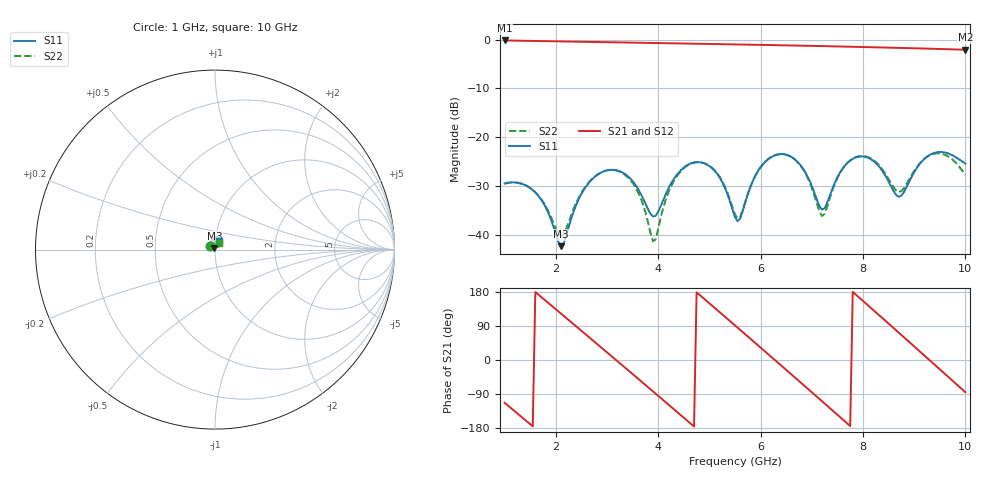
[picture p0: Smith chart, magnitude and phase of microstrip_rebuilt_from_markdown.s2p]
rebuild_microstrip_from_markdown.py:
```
#!/home/solarstatiion/.venvs/pyaedt-mcp/bin/python
"""Build the HFSS model from its Markdown spec and compare S-parameters."""

from __future__ import annotations

import csv
import json
import math
import os
import re
import statistics
import traceback
from datetime import datetime
from pathlib import Path

from dotenv import dotenv_values

ROOT = Path("/home/solarstatiion/aedt-mcp")
SPEC_PATH = ROOT / "specs" / "microstrip_50ohm_fr4.md"
REFERENCE_DIR = ROOT / "projects" / "microstrip_50ohm_fr4_20260802_162355"
REFERENCE_TOUCHSTONE = REFERENCE_DIR / "microstrip_50ohm_fr4.s2p"

for key, value in dotenv_values(ROOT / ".env").items():
    if value is not None:
        os.environ[key] = value

from ansys.aedt.core import Hfss


def load_spec(path: Path) -> dict:
    """Extract and validate the JSON source-of-truth block."""
    text = path.read_text()
    match = re.search(
        r"<!-- AEDT_SPEC_BEGIN -->\s*```json\s*(.*?)\s*```\s*"
        r"<!-- AEDT_SPEC_END -->",
        text,
        re.DOTALL,
    )
    if not match:
        raise ValueError(f"No machine-readable AEDT spec found in {path}")
    spec = json.loads(match.group(1))
    if spec.get("schema_version") != 1:
        raise ValueError(f"Unsupported schema version: {spec.get('schema_version')}")
    return spec


def pair_to_complex(a: float, b: float, data_format: str) -> complex:
    if data_format == "RI":
        return complex(a, b)
    magnitude = 10.0 ** (a / 20.0) if data_format == "DB" else a
    angle = math.radians(b)
    return magnitude * complex(math.cos(angle), math.sin(angle))


def parse_touchstone(path: Path) -> list[dict[str, float | complex]]:
    """Parse a Touchstone v1 two-port file."""
    unit_scale = 1e9
    data_format = "MA"
    numeric_tokens: list[float] = []
    for raw_line in path.read_text(errors="replace").splitlines():
        line = raw_line.split("!", 1)[0].strip()
        if not line:
            continue
        if line.startswith("#"):
            fields = line[1:].upper().split()
            scales = {"HZ": 1.0, "KHZ": 1e3, "MHZ": 1e6, "GHZ": 1e9}
            for field in fields:
                if field in scales:
                    unit_scale = scales[field]
                elif field in {"RI", "MA", "DB"}:
                    data_format = field
            continue
        if not line.startswith("["):
            numeric_tokens.extend(float(token) for token in line.split())

    rows: list[dict[str, float | complex]] = []
    for offset in range(0, len(numeric_tokens), 9):
        values = numeric_tokens[offset : offset + 9]
        if len(values) != 9:
            break
        rows.append(
            {
                "frequency_hz": values[0] * unit_scale,
                "s11": pair_to_complex(values[1], values[2], data_format),
                "s21": pair_to_complex(values[3], values[4], data_format),
                "s12": pair_to_complex(values[5], values[6], data_format),
                "s22": pair_to_complex(values[7], values[8], data_format),
            }
        )
    if not rows:
        raise ValueError(f"No two-port data found in {path}")
    return rows


def db(value: complex) -> float:
    return 20.0 * math.log10(max(abs(value), 1e-15))


def phase(value: complex) -> float:
    return math.degrees(math.atan2(value.imag, value.real))


def wrapped_phase_delta(a: float, b: float) -> float:
    return (a - b + 180.0) % 360.0 - 180.0


def compare_touchstones(reference_path: Path, rebuilt_path: Path) -> tuple[dict, list[dict]]:
    reference = parse_touchstone(reference_path)
    rebuilt = parse_touchstone(rebuilt_path)
    if len(reference) != len(rebuilt):
        raise ValueError(
            f"Point-count mismatch: reference={len(reference)}, rebuilt={len(rebuilt)}"
        )

    detail_rows: list[dict] = []
    metric_values: dict[str, dict[str, list[float]]] = {
        name: {"db": [], "complex": [], "phase": []}
        for name in ("s11", "s21", "s12", "s22")
    }
    for old, new in zip(reference, rebuilt):
        frequency_delta = abs(float(old["frequency_hz"]) - float(new["frequency_hz"]))
        if frequency_delta > 1.0:
            raise ValueError(f"Frequency-grid mismatch of {frequency_delta} Hz")
        row = {"frequency_hz": float(old["frequency_hz"])}
        for name in metric_values:
            old_value = complex(old[name])
            new_value = complex(new[name])
            db_delta = db(new_value) - db(old_value)
            complex_delta = abs(new_value - old_value)
            phase_delta = wrapped_phase_delta(phase(new_value), phase(old_value))
            metric_values[name]["db"].append(db_delta)
            metric_values[name]["complex"].append(complex_delta)
            metric_values[name]["phase"].append(phase_delta)
            row[f"reference_{name}_db"] = db(old_value)
            row[f"rebuilt_{name}_db"] = db(new_value)
            row[f"delta_{name}_db"] = db_delta
            row[f"delta_{name}_complex"] = complex_delta
            row[f"delta_{name}_phase_deg"] = phase_delta
        detail_rows.append(row)

    metrics = {}
    for name, values in metric_values.items():
        metrics[name] = {
            "max_abs_db_delta": max(abs(value) for value in values["db"]),
            "rms_db_delta": math.sqrt(statistics.fmean(value * value for value in values["db"])),
            "max_complex_delta": max(values["complex"]),
            "rms_complex_delta": math.sqrt(
                statistics.fmean(value * value for value in values["complex"])
            ),
            "max_abs_phase_delta_deg": max(abs(value) for value in values["phase"]),
        }

    samples = {}
    for target_ghz in (1.0, 2.4, 5.0, 10.0):
        row = min(
            detail_rows,
            key=lambda item: abs(item["frequency_hz"] - target_ghz * 1e9),
        )
        samples[f"{target_ghz:g}GHz"] = {
            key: value for key, value in row.items() if key != "frequency_hz"
        }

    consistent = (
        all(metrics[name]["max_complex_delta"] <= 0.03 for name in metrics)
        and metrics["s21"]["max_abs_db_delta"] <= 0.2
        and metrics["s12"]["max_abs_db_delta"] <= 0.2
    )
    summary = {
        "reference_touchstone": str(reference_path),
        "rebuilt_touchstone": str(rebuilt_path),
        "point_count": len(detail_rows),
        "frequency_range_ghz": [
            detail_rows[0]["frequency_hz"] / 1e9,
            detail_rows[-1]["frequency_hz"] / 1e9,
        ],
        "metrics": metrics,
        "sample_comparisons": samples,
        "consistency_criteria": {
            "all_max_complex_delta_lte": 0.03,
            "s21_s12_max_abs_db_delta_lte": 0.2,
        },
        "numerically_consistent": consistent,
    }
    return summary, detail_rows


def write_comparison_report(path: Path, summary: dict) -> None:
    verdict = "PASS" if summary["numerically_consistent"] else "REVIEW"
    lines = [
        "# HFSS Markdown Rebuild Comparison",
        "",
        f"**Verdict: {verdict}**",
        "",
        f"- Compared points: {summary['point_count']}",
        f"- Frequency range: {summary['frequency_range_ghz'][0]:g}–"
        f"{summary['frequency_range_ghz'][1]:g} GHz",
        "- Comparison uses all four complex S-parameters.",
        "",
        "## Full-sweep difference metrics",
        "",
        "| Parameter | Max |ΔdB| | RMS ΔdB | Max complex Δ | RMS complex Δ | "
        "Max |Δphase| |",
        "|---|---:|---:|---:|---:|---:|",
    ]
    for name, values in summary["metrics"].items():
        lines.append(
            f"| {name.upper()} | {values['max_abs_db_delta']:.6g} | "
            f"{values['rms_db_delta']:.6g} | {values['max_complex_delta']:.6g} | "
            f"{values['rms_complex_delta']:.6g} | "
            f"{values['max_abs_phase_delta_deg']:.6g}° |"
        )

    lines.extend(
        [
            "",
            "## Selected-frequency dB comparison",
            "",
            "| Frequency | Parameter | Reference | Rebuilt | Δ |",
            "|---:|---|---:|---:|---:|",
        ]
    )
    for frequency, values in summary["sample_comparisons"].items():
        for name in ("s11", "s21", "s12", "s22"):
            lines.append(
                f"| {frequency} | {name.upper()} | "
                f"{values[f'reference_{name}_db']:.6f} dB | "
                f"{values[f'rebuilt_{name}_db']:.6f} dB | "
                f"{values[f'delta_{name}_db']:+.6f} dB |"
            )

    lines.extend(
        [
            "",
            "## Interpretation",
            "",
            "The PASS criterion is intentionally based primarily on complex-wave "
            "difference and transmission magnitude. Reflection dB can show a large "
            "relative change near a very deep null even when the absolute complex "
            "difference is small. Fresh adaptive meshes are not expected to produce "
            "byte-identical Touchstone files.",
            "",
        ]
    )
    path.write_text("\n".join(lines))


def main() -> int:
    spec = load_spec(SPEC_PATH)
    timestamp = datetime.now().strftime("%Y%m%d_%H%M%S")
    output_dir = ROOT / "projects" / f"microstrip_rebuilt_from_markdown_{timestamp}"
    output_dir.mkdir(parents=True, exist_ok=True)
    project_path = output_dir / "microstrip_rebuilt_from_markdown.aedt"
    touchstone_path = output_dir / "microstrip_rebuilt_from_markdown.s2p"
    comparison_json_path = output_dir / "comparison.json"
    comparison_csv_path = output_dir / "comparison_full_sweep.csv"
    comparison_md_path = output_dir / "comparison.md"
    copied_spec_path = output_dir / SPEC_PATH.name
    copied_spec_path.write_text(SPEC_PATH.read_text())

    application = spec["application"]
    project = spec["project"]
    materials = spec["materials"]
    geometry = spec["geometry_mm"]
    setup_spec = spec["setup"]
    sweep_spec = spec["sweep"]
    execution = spec["execution"]
    export_spec = spec["export"]

    line_l = float(geometry["line_length"])
    substrate_w = float(geometry["substrate_width"])
    substrate_h = float(geometry["substrate_height"])
    trace_w = float(geometry["trace_width"])
    copper_t = float(geometry["copper_thickness"])
    margin_x = float(geometry["air_margin_x"])
    margin_y = float(geometry["air_margin_y"])
    margin_below = float(geometry["air_margin_below"])
    margin_above = float(geometry["air_margin_above_trace"])

    hfss = None
    try:
        hfss = Hfss(
            project=str(project_path),
            design=project["design_name"],
            solution_type=application["solution_type"],
            version=application["version"],
            non_graphical=bool(execution["non_graphical"]),
            new_desktop=True,
            close_on_exit=False,
        )
        hfss.modeler.model_units = project["model_units"]

        hfss.modeler.create_box(
            [0, -substrate_w / 2, 0],
            [line_l, substrate_w, substrate_h],
            name="FR4_Substrate",
            material=materials["substrate"]["aedt_name"],
        )
        hfss.modeler.create_box(
            [0, -substrate_w / 2, -copper_t],
            [line_l, substrate_w, copper_t],
            name="Ground",
            material=materials["conductor"]["aedt_name"],
        )
        hfss.modeler.create_box(
            [0, -trace_w / 2, substrate_h],
            [line_l, trace_w, copper_t],
            name="Trace",
            material=materials["conductor"]["aedt_name"],
        )
        airbox = hfss.modeler.create_box(
            [-margin_x, -substrate_w / 2 - margin_y, -margin_below],
            [
                line_l + 2 * margin_x,
                substrate_w + 2 * margin_y,
                margin_below + substrate_h + copper_t + margin_above,
            ],
            name="AirBox",
            material=materials["surrounding"]["aedt_name"],
        )
        if not hfss.assign_radiation_boundary_to_objects(
            airbox, name=spec["boundary"]["name"]
        ):
            raise RuntimeError("Failed to assign Radiation to AirBox")

        port_height = substrate_h + copper_t
        for port_spec in spec["ports"]:
            x = float(port_spec["x_mm"])
            sheet = hfss.modeler.create_rectangle(
                port_spec["plane"],
                [x, -trace_w / 2, 0],
                [trace_w, port_height],
                name=port_spec["sheet_name"],
            )
            if not hfss.lumped_port(
                sheet,
                integration_line=[[x, 0, port_height], [x, 0, 0]],
                impedance=float(port_spec["impedance_ohm"]),
                name=port_spec["name"],
                renormalize=bool(port_spec["renormalize"]),
            ):
                raise RuntimeError(f"Failed to create {port_spec['name']}")

        setup = hfss.create_setup(setup_spec["name"])
        setup.props["Frequency"] = f"{setup_spec['adaptive_frequency_ghz']}GHz"
        setup.props["MaximumPasses"] = int(setup_spec["maximum_passes"])
        setup.props["MinimumPasses"] = int(setup_spec["minimum_passes"])
        setup.props["MinimumConvergedPasses"] = int(
            setup_spec["minimum_converged_passes"]
        )
        setup.props["MaxDeltaS"] = float(setup_spec["max_delta_s"])
        setup.update()

        sweep = hfss.create_linear_count_sweep(
            setup=setup_spec["name"],
            unit="GHz",
            start_frequency=float(sweep_spec["start_ghz"]),
            stop_frequency=float(sweep_spec["stop_ghz"]),
            num_of_freq_points=int(sweep_spec["point_count"]),
            name=sweep_spec["name"],
            save_fields=bool(sweep_spec["save_fields"]),
            sweep_type=sweep_spec["type"],
            interpolation_tol=float(sweep_spec["interpolation_tolerance"]),
            interpolation_max_solutions=int(
                sweep_spec["interpolation_max_solutions"]
            ),
        )
        if not sweep:
            raise RuntimeError("Failed to create Sweep1")

        hfss.save_project(str(project_path))
        if not hfss.analyze_setup(
            setup_spec["name"], cores=int(execution["cores"]), blocking=True
        ):
            raise RuntimeError("HFSS reported that the rebuilt setup failed")
        hfss.save_project(str(project_path))
        if not hfss.export_touchstone(
            setup=setup_spec["name"],
            sweep=sweep_spec["name"],
            output_file=str(touchstone_path),
            renormalization=bool(export_spec["renormalize"]),
            impedance=float(export_spec["impedance_ohm"]),
            gamma_impedance_comments=bool(
                export_spec["include_gamma_impedance_comments"]
            ),
        ):
            raise RuntimeError("Failed to export rebuilt Touchstone data")

        comparison, detail_rows = compare_touchstones(
            REFERENCE_TOUCHSTONE, touchstone_path
        )
        comparison.update(
            {
                "specification": str(SPEC_PATH),
                "copied_specification": str(copied_spec_path),
                "rebuilt_project": str(project_path),
                "comparison_csv": str(comparison_csv_path),
                "comparison_report": str(comparison_md_path),
            }
        )
        comparison_json_path.write_text(json.dumps(comparison, indent=2))
        with comparison_csv_path.open("w", newline="") as stream:
            writer = csv.DictWriter(stream, fieldnames=list(detail_rows[0]))
            writer.writeheader()
            writer.writerows(detail_rows)
        write_comparison_report(comparison_md_path, comparison)
        print(json.dumps(comparison, indent=2))
        return 0
    except Exception:
        traceback.print_exc()
        print(f"FAILURE: outputs retained under {output_dir}")
        return 1
    finally:
        if hfss:
            hfss.release_desktop(close_projects=True, close_desktop=True)


if __name__ == "__main__":
    raise SystemExit(main())
```
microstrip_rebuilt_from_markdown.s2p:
! Touchstone file exported from HFSS 2025.1.0
!  File:  /home/solarstatiion/aedt-mcp/projects/microstrip_rebuilt_from_markdown_20260802_231316/microstrip_rebuilt_from_markdown.aedt
!  Generated:  11:16:14 PM Aug  2, 2026
!  Design:  Microstrip50Ohm
!  Project:  microstrip_rebuilt_from_markdown
!  Setup:  Setup1
!  Solution:  Sweep1
# GHz S MA R 50.000000
! Terminal data exported
! Port[1] = Port1
! Port[2] = Port2
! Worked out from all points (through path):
!   181 points, 1 GHz to 10 GHz, reference 50 ohm
!   highest |S21| = -0.19 dB at 1 GHz (marker M1); lowest = -2.1 dB at 10 GHz (marker M2)
!   group delay of S21, straight-line fit = 325 ps
!   lowest |S11| = -42.3 dB at 2.1 GHz (marker M3), VSWR 1.02, Z = 49.7 + j0.707 ohm
!   |S11| at or under -10 dB: start of sweep to end of sweep
!   |S22| runs from -41.3 to -23.3 dB; largest |S21 - S12| = 3.3e-14
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1  0.03365 144.5  0.9785 -112.9  0.9785 -112.9  0.0334 146.8
! Gamma 0 0 0 0
! Port Impedance 50 0 50 0
2.1  0.007664 111.9  0.9566 122.7  0.9566 122.7  0.009681 114.2
3.1  0.04638 101.7  0.9367 8.8  0.9367 8.8  0.04625 97.1
3.95  0.01571 103.1  0.9213 -88.8  0.9213 -88.8  0.009023 112.8
4.75  0.05551 87.5  0.9055 178.7  0.9055 178.7  0.05548 93.7
5.5  0.01521 65.9  0.8921 91.3  0.8921 91.3  0.01618 68.9
6.25  0.06436 93.6  0.876 3.4  0.876 3.4  0.06436 94.4
6.95  0.03651 41.3  0.8624 -79.1  0.8624 -79.1  0.03545 39.6
7.75  0.05766 94.6  0.8436 -174.3  0.8436 -174.3  0.05796 98.2
8.55  0.0312 54.8  0.825 90.1  0.825 90.1  0.03356 57.4
10  0.05378 67.0  0.7864 -85.1  0.7864 -85.1  0.04111 58.5
